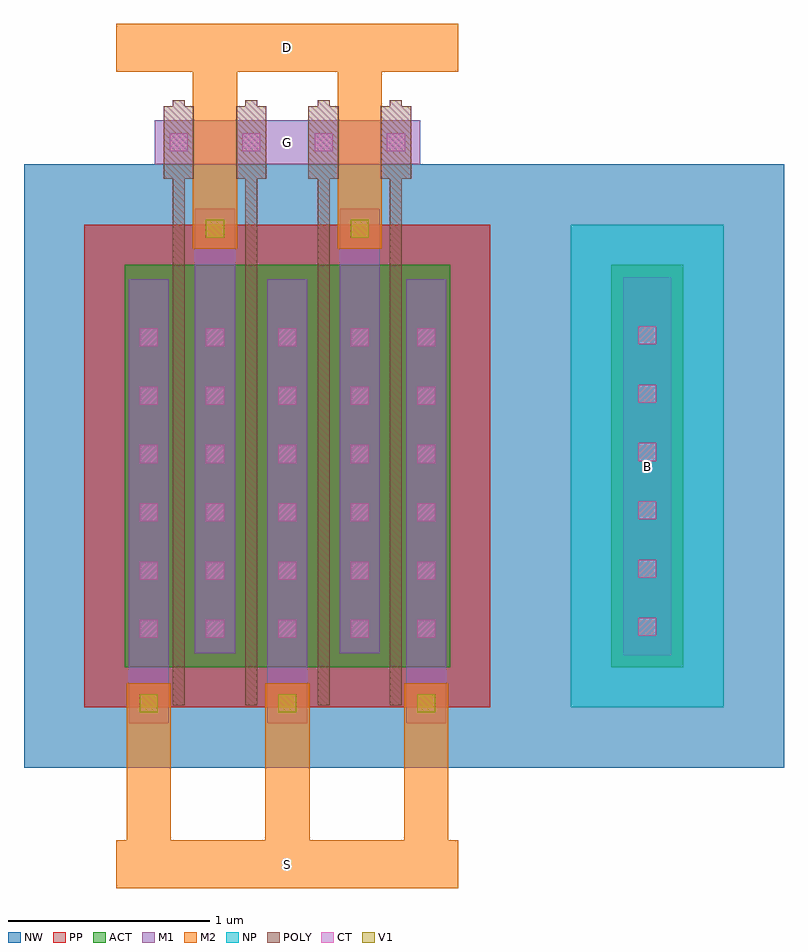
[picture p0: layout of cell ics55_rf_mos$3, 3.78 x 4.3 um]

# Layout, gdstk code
import gdstk
lib = gdstk.Library(unit=1e-6, precision=1e-09)
def R(c, l, rs):  # rectangles x0, y0, x1, y1
    for r in rs: c.add(gdstk.rectangle(r[:2], r[2:], *l))
def A(c, l, x, y, w, h, nx, ny, dx, dy):  # array of equal rectangles
    R(c, l, [(x+i*dx, y+j*dy, x+i*dx+w, y+j*dy+h) for i in range(nx) for j in range(ny)])
ACT = (2, 1)
NW = (9, 1)
POLY = (41, 1)
NP = (52, 1)
PP = (53, 1)
CT = (72, 1)
M1 = (81, 1)
M2 = (82, 1)
V1 = (91, 1)

ics55_rf_mos_3 = lib.new_cell('ics55_rf_mos$3')
R(ics55_rf_mos_3, ACT, [(-0.81,-1,0.81,1), (1.61,-1,1.97,1)])
R(ics55_rf_mos_3, NW, [(-1.31,-1.5,2.47,1.5)])
A(ics55_rf_mos_3, POLY, -0.57, -1.19, 0.06, 3.01, 4, 1, 0.36, 0)
A(ics55_rf_mos_3, POLY, -0.615, 1.43, 0.15, 0.36, 4, 1, 0.36, 0)
R(ics55_rf_mos_3, NP, [(1.41,-1.2,2.17,1.2)])
R(ics55_rf_mos_3, PP, [(-1.01,-1.2,1.01,1.2)])
A(ics55_rf_mos_3, CT, -0.735, -0.855, 0.09, 0.09, 1, 6, 0, 0.29)
A(ics55_rf_mos_3, CT, -0.405, -0.855, 0.09, 0.09, 3, 6, 0.36, 0.29)
A(ics55_rf_mos_3, CT, 0.645, -0.855, 0.09, 0.09, 1, 6, 0, 0.29)
A(ics55_rf_mos_3, CT, 1.745, -0.845, 0.09, 0.09, 1, 6, 0, 0.29)
A(ics55_rf_mos_3, CT, -0.585, 1.565, 0.09, 0.09, 4, 1, 0.36, 0)
A(ics55_rf_mos_3, M1, -0.79, -1.28, 0.2, 2.21, 3, 1, 0.69, 0)
R(ics55_rf_mos_3, M1, [(1.67,-0.94,1.91,0.94), (-0.46,-0.93,-0.26,1.28), (0.26,-0.93,0.46,1.28), (-0.66,1.5,0.66,1.72)])
A(ics55_rf_mos_3, M2, -0.8, -2.1, 0.22, 1.02, 3, 1, 0.69, 0)
R(ics55_rf_mos_3, M2, [(-0.85,-2.1,0.85,-1.86), (-0.47,1.08,-0.25,2.2), (0.25,1.08,0.47,2.2), (-0.85,1.96,0.85,2.2)])
A(ics55_rf_mos_3, V1, -0.735, -1.225, 0.09, 0.09, 3, 1, 0.69, 0)
R(ics55_rf_mos_3, V1, [(-0.405,1.135,-0.315,1.225), (0.315,1.135,0.405,1.225)])
ics55_rf_mos_3.add(gdstk.Label('G', (0,1.61), layer=81, texttype=6))
ics55_rf_mos_3.add(gdstk.Label('B', (1.79,0), layer=81, texttype=6))
ics55_rf_mos_3.add(gdstk.Label('S', (0,-1.98), layer=82, texttype=6))
ics55_rf_mos_3.add(gdstk.Label('D', (0,2.08), layer=82, texttype=6))

lib.write_gds('ics55_rf_mos_3.gds')
